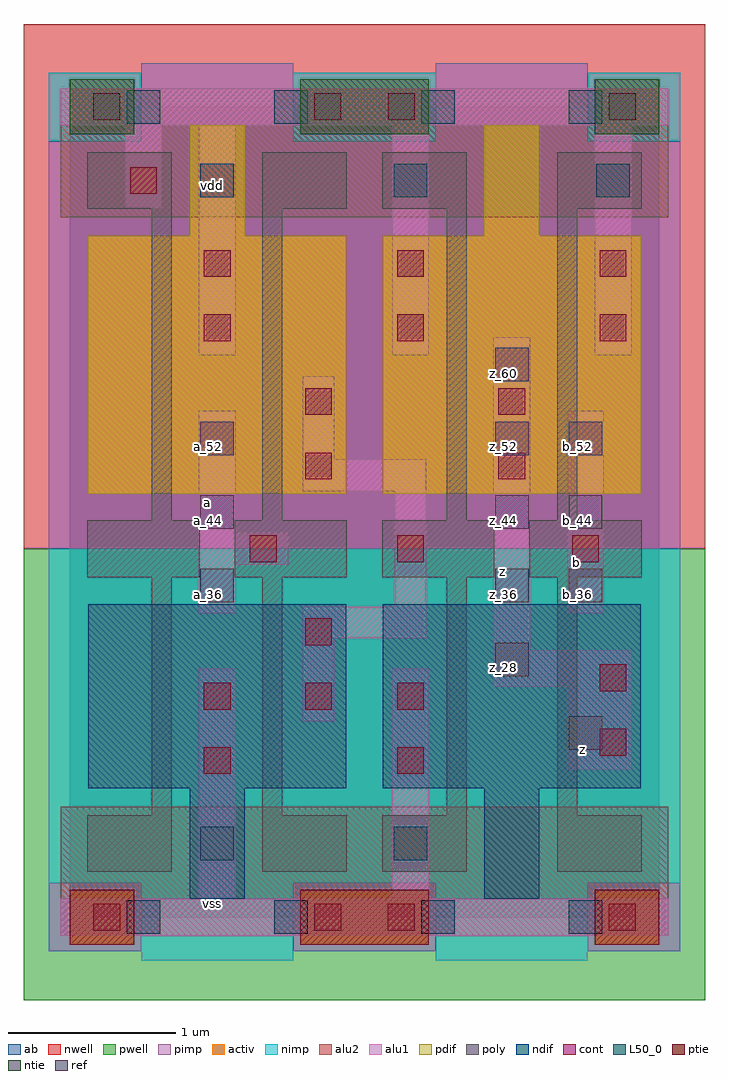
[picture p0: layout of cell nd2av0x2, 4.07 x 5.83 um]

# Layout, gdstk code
import gdstk
lib = gdstk.Library(unit=1e-6, precision=2.5e-09)
def R(c, l, rs):  # rectangles x0, y0, x1, y1
    for r in rs: c.add(gdstk.rectangle(r[:2], r[2:], *l))
def A(c, l, x, y, w, h, nx, ny, dx, dy):  # array of equal rectangles
    R(c, l, [(x+i*dx, y+j*dy, x+i*dx+w, y+j*dy+h) for i in range(nx) for j in range(ny)])
ndif = (3, 0)
pdif = (4, 0)
ntie = (5, 0)
ptie = (6, 0)
ref = (24, 0)
cont = (25, 0)
pwell = (41, 0)
nwell = (42, 0)
activ = (43, 0)
pimp = (44, 0)
nimp = (45, 0)
poly = (46, 0)
alu1 = (49, 0)
L50_0 = (50, 0)
alu2 = (51, 0)
ab = (63, 0)

nd2av0x2 = lib.new_cell('nd2av0x2')
R(nd2av0x2, ndif, [(0.715,0.11,1.045,0.77), (2.475,0.11,2.805,0.77), (0.11,0.77,1.65,1.87), (1.87,0.77,3.41,1.87)])
R(nd2av0x2, pdif, [(0.11,2.53,1.65,4.07), (1.87,2.53,3.41,4.07), (0.715,4.07,1.045,4.73), (2.475,4.07,2.805,4.73)])
R(nd2av0x2, ntie, [(0,4.675,0.385,5.005), (1.375,4.675,2.145,5.005), (3.135,4.675,3.52,5.005)])
R(nd2av0x2, ptie, [(0,-0.165,0.385,0.165), (1.375,-0.165,2.145,0.165), (3.135,-0.165,3.52,0.165)])
A(nd2av0x2, ref, 2.54, 1.44, 0.2, 0.2, 1, 5, 0, 0.44)
A(nd2av0x2, ref, 0.78, 1.88, 0.2, 0.2, 1, 3, 0, 0.44)
A(nd2av0x2, ref, 2.98, 1.88, 0.2, 0.2, 1, 3, 0, 0.44)
R(nd2av0x2, ref, [(2.98,1,3.18,1.2)])
R(nd2av0x2, cont, [(0.14,-0.08,0.3,0.08), (1.46,-0.08,1.62,0.08), (1.9,-0.08,2.06,0.08), (3.22,-0.08,3.38,0.08), (0.8,0.855,0.96,1.015), (1.955,0.855,2.115,1.015), (3.165,0.965,3.325,1.125), (0.8,1.24,0.96,1.4), (1.405,1.24,1.565,1.4), (1.955,1.24,2.115,1.4), (3.165,1.35,3.325,1.51), (1.405,1.625,1.565,1.785), (1.075,2.12,1.235,2.28), (1.955,2.12,2.115,2.28), (3,2.12,3.16,2.28), (1.405,2.615,1.565,2.775), (2.56,2.615,2.72,2.775), (1.405,3,1.565,3.16), (2.56,3,2.72,3.16), (0.8,3.44,0.96,3.6), (1.955,3.44,2.115,3.6), (3.165,3.44,3.325,3.6), (0.8,3.825,0.96,3.985), (1.955,3.825,2.115,3.985), (3.165,3.825,3.325,3.985), (0.36,4.32,0.52,4.48), (0.14,4.76,0.3,4.92), (1.46,4.76,1.62,4.92), (1.9,4.76,2.06,4.92), (3.22,4.76,3.38,4.92)])
R(nd2av0x2, pwell, [(-0.275,-0.495,3.795,2.2)])
R(nd2av0x2, nwell, [(-0.275,2.2,3.795,5.335)])
R(nd2av0x2, activ, [(0,-0.165,0.385,0.165), (1.375,-0.165,2.145,0.165), (3.135,-0.165,3.52,0.165), (0.715,0.11,1.045,0.77), (2.475,0.11,2.805,0.77), (0.11,0.77,1.65,1.87), (1.87,0.77,3.41,1.87), (0.11,2.53,1.65,4.07), (1.87,2.53,3.41,4.07), (0.715,4.07,1.045,4.73), (2.475,4.07,2.805,4.73), (0,4.675,0.385,5.005), (1.375,4.675,2.145,5.005), (3.135,4.675,3.52,5.005)])
R(nd2av0x2, pimp, [(-0.125,-0.205,0.425,0.205), (1.335,-0.205,2.185,0.205), (3.095,-0.205,3.645,0.205), (-0.125,2.2,3.645,4.635), (0.425,4.635,1.335,5.1), (2.185,4.635,3.095,5.1)])
R(nd2av0x2, nimp, [(0.425,-0.26,1.335,0.205), (2.185,-0.26,3.095,0.205), (-0.125,0.205,3.645,2.2), (-0.125,4.635,0.425,5.045), (1.335,4.635,2.185,5.045), (3.095,4.635,3.645,5.045)])
A(nd2av0x2, poly, 0.105, 2.03, 0.67, 0.34, 4, 1, 0.88, 0)
R(nd2av0x2, poly, [(0.105,0.27,0.61,0.61), (1.15,0.27,1.655,0.61), (1.865,0.27,2.37,0.61), (2.91,0.27,3.415,0.61), (0.49,0.61,0.61,2.03), (1.15,0.61,1.27,2.03), (2.25,0.61,2.37,2.03), (2.91,0.61,3.03,2.03), (0.49,2.37,0.61,4.23), (1.15,2.37,1.27,4.23), (2.25,2.37,2.37,4.23), (2.91,2.37,3.03,4.23), (0.105,4.23,0.61,4.57), (1.15,4.23,1.655,4.57), (1.865,4.23,2.37,4.57), (2.91,4.23,3.415,4.57)])
R(nd2av0x2, alu1, [(-0.055,-0.11,3.575,0.11), (0.77,0.11,0.99,1.485), (1.925,0.11,2.145,1.485), (2.97,0.88,3.355,1.375), (1.39,1.17,1.58,1.665), (2.53,1.375,3.355,1.595), (2.53,1.595,2.75,3.465), (1.39,1.665,2.13,1.855), (0.77,1.815,0.99,2.105), (2.97,1.815,3.19,3.025), (1.94,1.855,2.13,2.545), (0.77,2.105,1.305,2.295), (0.77,2.295,0.99,3.025), (1.39,2.545,2.13,2.735), (1.39,2.735,1.58,3.23), (0.77,3.355,0.99,4.73), (1.925,3.355,2.145,4.73), (3.135,3.355,3.355,4.73), (0.33,4.235,0.55,4.73), (-0.055,4.73,3.575,4.95)])
A(nd2av0x2, L50_0, 0.34, -0.1, 0.2, 0.2, 4, 2, 0.88, 4.84)
R(nd2av0x2, L50_0, [(0.78,0.34,0.98,0.54), (1.935,0.34,2.135,0.54), (0.78,4.3,0.98,4.5), (1.935,4.3,2.135,4.5), (3.145,4.3,3.345,4.5)])
R(nd2av0x2, alu2, [(-0.055,-0.11,3.575,0.66), (-0.055,4.18,3.575,4.95)])
R(nd2av0x2, ab, [(0,0,3.52,4.84)])
nd2av0x2.add(gdstk.Label('z', (3.065,1.0025), layer=49, texttype=0))
nd2av0x2.add(gdstk.Label('b', (3.025,2.1175), layer=49, texttype=0))
nd2av0x2.add(gdstk.Label('z', (2.585,2.0625), layer=49, texttype=0))
nd2av0x2.add(gdstk.Label('a', (0.825,2.4775), layer=49, texttype=0))
nd2av0x2.add(gdstk.Label('vss', (0.8525,0.0825), layer=51, texttype=0))
nd2av0x2.add(gdstk.Label('vdd', (0.8525,4.3725), layer=51, texttype=0))
nd2av0x2.add(gdstk.Label('z_28', (2.59,1.49), layer=24, texttype=0))
nd2av0x2.add(gdstk.Label('z_36', (2.59,1.93), layer=24, texttype=0))
nd2av0x2.add(gdstk.Label('z_52', (2.59,2.81), layer=24, texttype=0))
nd2av0x2.add(gdstk.Label('z_44', (2.59,2.37), layer=24, texttype=0))
nd2av0x2.add(gdstk.Label('b_44', (3.03,2.37), layer=24, texttype=0))
nd2av0x2.add(gdstk.Label('b_36', (3.03,1.93), layer=24, texttype=0))
nd2av0x2.add(gdstk.Label('b_52', (3.03,2.81), layer=24, texttype=0))
nd2av0x2.add(gdstk.Label('z_60', (2.59,3.25), layer=24, texttype=0))
nd2av0x2.add(gdstk.Label('z_20', (3.03,1.05), layer=24, texttype=0))
nd2av0x2.add(gdstk.Label('a_44', (0.83,2.37), layer=24, texttype=0))
nd2av0x2.add(gdstk.Label('a_36', (0.83,1.93), layer=24, texttype=0))
nd2av0x2.add(gdstk.Label('a_52', (0.83,2.81), layer=24, texttype=0))

lib.write_gds('nd2av0x2.gds')
